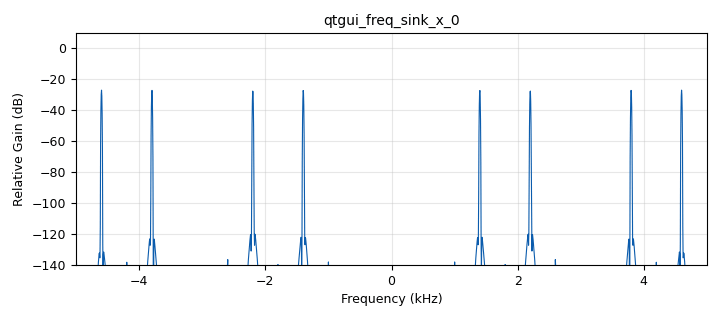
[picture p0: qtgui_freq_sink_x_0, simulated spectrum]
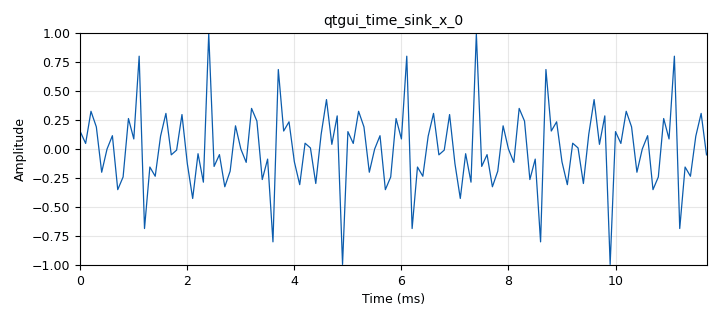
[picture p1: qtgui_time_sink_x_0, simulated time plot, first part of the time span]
<?xml version='1.0' encoding='utf-8'?>
<?grc format='1' created='3.7.13'?>
<flow_graph>
<block>
<key>options</key>
<param><key>id</key><value>lab1_punto4</value></param>
<param><key>generate_options</key><value>qt_gui</value></param>
</block>
<block>
<key>variable_qtgui_range</key>
<param><key>id</key><value>freq_a</value></param>
<param><key>value</key><value>28000</value></param>
<param><key>label</key><value>frecuencyA</value></param>
<param><key>orient</key><value>Qt.Horizontal</value></param>
<param><key>start</key><value>1000</value></param>
<param><key>step</key><value>1000</value></param>
<param><key>stop</key><value>40000</value></param>
</block>
<block>
<key>variable_qtgui_range</key>
<param><key>id</key><value>freq_b</value></param>
<param><key>value</key><value>1200</value></param>
<param><key>label</key><value>frecuencyB</value></param>
<param><key>orient</key><value>Qt.Horizontal</value></param>
<param><key>start</key><value>1000</value></param>
<param><key>step</key><value>1000</value></param>
<param><key>stop</key><value>40000</value></param>
</block>
<block>
<key>variable_qtgui_range</key>
<param><key>id</key><value>freq_c</value></param>
<param><key>value</key><value>14600</value></param>
<param><key>label</key><value>frecuencyC</value></param>
<param><key>orient</key><value>Qt.Horizontal</value></param>
<param><key>start</key><value>1000</value></param>
<param><key>step</key><value>1000</value></param>
<param><key>stop</key><value>40000</value></param>
</block>
<block>
<key>variable_qtgui_range</key>
<param><key>id</key><value>samp_rate</value></param>
<param><key>value</key><value>10000</value></param>
<param><key>label</key><value>frecuencia de muestreo</value></param>
<param><key>orient</key><value>Qt.Horizontal</value></param>
<param><key>start</key><value>1</value></param>
<param><key>step</key><value>1</value></param>
<param><key>stop</key><value>80000</value></param>
</block>
<block>
<key>analog_sig_source_x</key>
<param><key>id</key><value>analog_sig_source_x_0</value></param>
<param><key>amp</key><value>1</value></param>
<param><key>freq</key><value>freq_a</value></param>
<param><key>offset</key><value>0</value></param>
<param><key>type</key><value>float</value></param>
<param><key>samp_rate</key><value>samp_rate</value></param>
<param><key>waveform</key><value>analog.GR_COS_WAVE</value></param>
</block>
<block>
<key>analog_sig_source_x</key>
<param><key>id</key><value>analog_sig_source_x_1</value></param>
<param><key>amp</key><value>1</value></param>
<param><key>freq</key><value>freq_b</value></param>
<param><key>offset</key><value>0</value></param>
<param><key>type</key><value>float</value></param>
<param><key>samp_rate</key><value>samp_rate</value></param>
<param><key>waveform</key><value>analog.GR_COS_WAVE</value></param>
</block>
<block>
<key>analog_sig_source_x</key>
<param><key>id</key><value>analog_sig_source_x_2</value></param>
<param><key>amp</key><value>1</value></param>
<param><key>freq</key><value>freq_c</value></param>
<param><key>offset</key><value>0</value></param>
<param><key>type</key><value>float</value></param>
<param><key>samp_rate</key><value>samp_rate</value></param>
<param><key>waveform</key><value>analog.GR_COS_WAVE</value></param>
</block>
<block>
<key>blocks_multiply_xx</key>
<param><key>id</key><value>blocks_multiply_xx_0</value></param>
<param><key>type</key><value>float</value></param>
<param><key>num_inputs</key><value>3</value></param>
</block>
<block>
<key>blocks_throttle</key>
<param><key>id</key><value>blocks_throttle_0</value></param>
<param><key>samples_per_second</key><value>samp_rate</value></param>
<param><key>type</key><value>float</value></param>
</block>
<block>
<key>qtgui_freq_sink_x</key>
<param><key>id</key><value>qtgui_freq_sink_x_0</value></param>
<param><key>bw</key><value>samp_rate</value></param>
<param><key>fc</key><value>0</value></param>
<param><key>fftsize</key><value>2048</value></param>
<param><key>showports</key><value>True</value></param>
<param><key>type</key><value>float</value></param>
<param><key>wintype</key><value>firdes.WIN_BLACKMAN_hARRIS</value></param>
</block>
<block>
<key>qtgui_time_sink_x</key>
<param><key>id</key><value>qtgui_time_sink_x_0</value></param>
<param><key>color1</key><value>"blue"</value></param>
<param><key>label1</key><value></value></param>
<param><key>size</key><value>1024</value></param>
<param><key>srate</key><value>samp_rate</value></param>
<param><key>type</key><value>float</value></param>
</block>
<connection><source_block_id>analog_sig_source_x_0</source_block_id><sink_block_id>blocks_multiply_xx_0</sink_block_id><source_key>0</source_key><sink_key>0</sink_key></connection>
<connection><source_block_id>analog_sig_source_x_1</source_block_id><sink_block_id>blocks_multiply_xx_0</sink_block_id><source_key>0</source_key><sink_key>1</sink_key></connection>
<connection><source_block_id>analog_sig_source_x_2</source_block_id><sink_block_id>blocks_multiply_xx_0</sink_block_id><source_key>0</source_key><sink_key>2</sink_key></connection>
<connection><source_block_id>blocks_multiply_xx_0</source_block_id><sink_block_id>blocks_throttle_0</sink_block_id><source_key>0</source_key><sink_key>0</sink_key></connection>
<connection><source_block_id>blocks_throttle_0</source_block_id><sink_block_id>qtgui_freq_sink_x_0</sink_block_id><source_key>0</source_key><sink_key>0</sink_key></connection>
<connection><source_block_id>blocks_throttle_0</source_block_id><sink_block_id>qtgui_time_sink_x_0</sink_block_id><source_key>0</source_key><sink_key>0</sink_key></connection>
</flow_graph>
